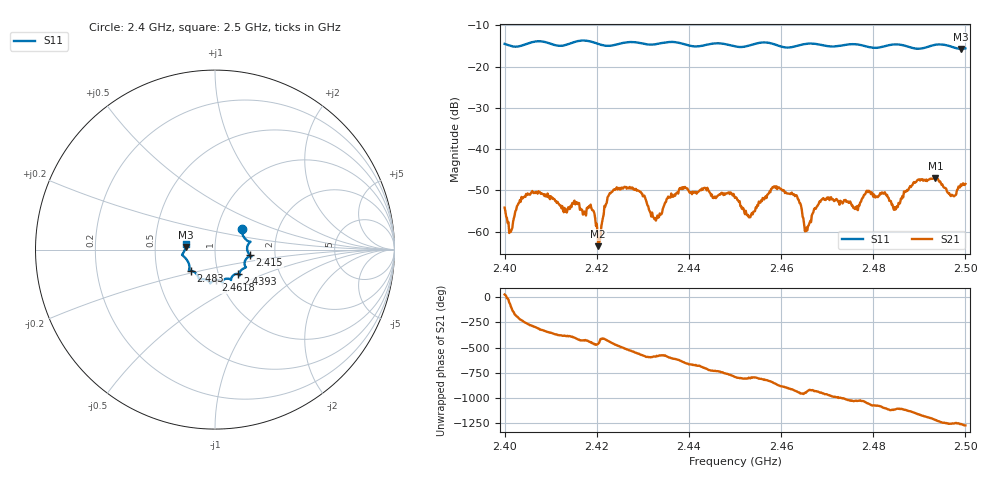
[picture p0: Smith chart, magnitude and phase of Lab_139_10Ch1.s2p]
# Hz S RI R 50
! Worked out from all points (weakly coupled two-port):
!   601 points, 2.4 GHz to 2.5 GHz, reference 50 ohm
!   highest |S21| = -47.00 dB at 2.4935 GHz (marker M1); lowest = -63.5 dB at 2.4203 GHz (marker M2)
!   lowest |S11| = -15.7 dB at 2.499 GHz (marker M3), VSWR 1.39, Z = 35.9 + j1.12 ohm
!   |S11| at or under -10 dB: start of sweep to end of sweep
!   S12 and S22 are empty: the file has one direction only
!   S11 on the Smith chart (normalised r, x): 2.4 GHz: 1.31, +0.31; 2.415 GHz: 1.48, -0.10; 2.4393 GHz: 1.23, -0.35; 2.4618 GHz: 0.95, -0.33; 2.483 GHz: 0.74, -0.18; 2.5 GHz: 0.72, +0.05
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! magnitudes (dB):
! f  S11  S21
! 2.4 GHz  -14.5  -54.2
! 2.4012 GHz  -14.9  -59.8
! 2.4055 GHz  -14.2  -51.1
! 2.415 GHz  -14.1  -52.8
! 2.4167 GHz  -13.7  -54.6
! 2.419 GHz  -14.0  -54.8
! 2.4203 GHz  -14.5  -63.5
! 2.4242 GHz  -14.7  -49.6
! 2.4333 GHz  -14.4  -56.6
! 2.4393 GHz  -14.7  -49.4
! 2.45 GHz  -15.1  -51.8
! 2.453 GHz  -14.9  -56.5
! 2.4583 GHz  -14.5  -49.2
! 2.4618 GHz  -15.3  -50.8
! 2.4655 GHz  -14.5  -59.0
! 2.4667 GHz  -14.4  -56.1
! 2.4695 GHz  -14.9  -52.1
! 2.483 GHz  -14.9  -51.1
! 2.4833 GHz  -14.8  -51.8
! 2.4935 GHz  -14.7  -47.0
! 2.499 GHz  -15.7  -48.5
! 2.5 GHz  -15.6  -48.4
